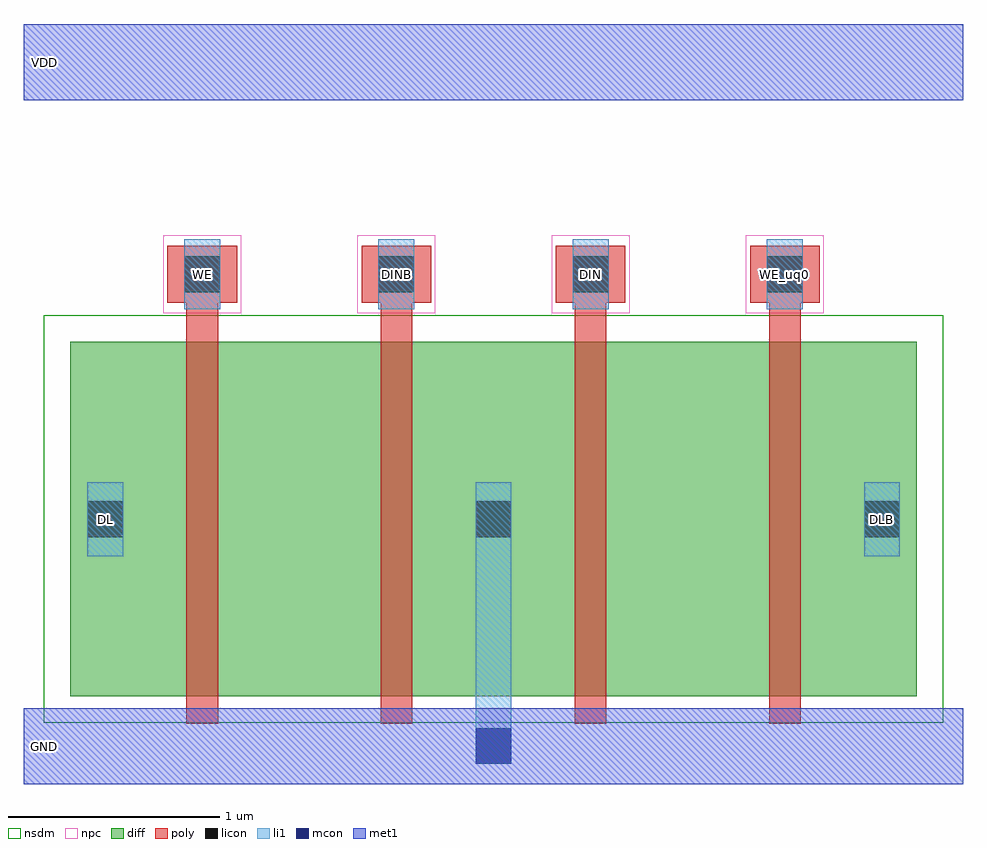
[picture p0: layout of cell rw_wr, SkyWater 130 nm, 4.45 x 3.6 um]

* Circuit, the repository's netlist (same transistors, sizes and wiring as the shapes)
* NGSPICE file created from rw_wr.ext - technology: sky130A

.subckt rw_wr WE DINB DIN DL DLB VDD GND WE_uq0
X0 GND DINB a_184_47# VSUBS sky130_fd_pr__nfet_01v8 ad=0.6468 pd=2.45 as=0.6468 ps=2.45 w=1.68 l=0.15
X1 a_184_47# WE DL VSUBS sky130_fd_pr__nfet_01v8 ad=0.6468 pd=2.45 as=0.924 ps=4.46 w=1.68 l=0.15
X2 a_552_47# DIN GND VSUBS sky130_fd_pr__nfet_01v8 ad=0.6468 pd=2.45 as=0.6468 ps=2.45 w=1.68 l=0.15
X3 DLB WE_uq0 a_552_47# VSUBS sky130_fd_pr__nfet_01v8 ad=0.924 pd=4.46 as=0.6468 ps=2.45 w=1.68 l=0.15
.ends

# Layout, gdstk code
import gdstk
lib = gdstk.Library(unit=1e-6, precision=1e-09)
def R(c, l, rs):  # rectangles x0, y0, x1, y1
    for r in rs: c.add(gdstk.rectangle(r[:2], r[2:], *l))
def A(c, l, x, y, w, h, nx, ny, dx, dy):  # array of equal rectangles
    R(c, l, [(x+i*dx, y+j*dy, x+i*dx+w, y+j*dy+h) for i in range(nx) for j in range(ny)])
diff = (65, 20)
poly = (66, 20)
licon = (66, 44)
li1 = (67, 20)
mcon = (67, 44)
met1 = (68, 20)
nsdm = (93, 44)
npc = (95, 20)

rw_wr = lib.new_cell('rw_wr')
R(rw_wr, diff, [(0.22,0.235,4.23,1.915)])
A(rw_wr, poly, 0.77, 0.105, 0.15, 1.995, 4, 1, 0.92, 0)
A(rw_wr, poly, 0.68, 2.1, 0.33, 0.27, 4, 1, 0.92, 0)
A(rw_wr, licon, 0.3, 0.99, 0.17, 0.17, 3, 1, 1.84, 0)
A(rw_wr, licon, 0.76, 2.15, 0.17, 0.17, 4, 1, 0.92, 0)
A(rw_wr, li1, 0.76, 2.07, 0.17, 0.33, 4, 1, 0.92, 0)
R(rw_wr, li1, [(2.14,-0.085,2.31,1.25), (0.3,0.9,0.47,1.25), (3.98,0.9,4.15,1.25)])
R(rw_wr, mcon, [(2.14,-0.085,2.31,0.085)])
R(rw_wr, met1, [(0,-0.18,4.45,0.18), (0,3.06,4.45,3.42)])
R(rw_wr, nsdm, [(0.095,0.11,4.355,2.04)])
A(rw_wr, npc, 0.66, 2.05, 0.37, 0.37, 4, 1, 0.92, 0)
rw_wr.add(gdstk.Label('WE', (0.845,2.235), layer=67, texttype=5))
rw_wr.add(gdstk.Label('DINB', (1.765,2.235), layer=67, texttype=5))
rw_wr.add(gdstk.Label('DIN', (2.685,2.235), layer=67, texttype=5))
rw_wr.add(gdstk.Label('DL', (0.385,1.075), layer=67, texttype=5))
rw_wr.add(gdstk.Label('DLB', (4.065,1.075), layer=67, texttype=5))
rw_wr.add(gdstk.Label('VDD', (0.1,3.24), layer=68, texttype=5))
rw_wr.add(gdstk.Label('GND', (0.1,0), layer=68, texttype=5))
rw_wr.add(gdstk.Label('WE_uq0', (3.605,2.235), layer=67, texttype=5))

lib.write_gds('rw_wr.gds')
